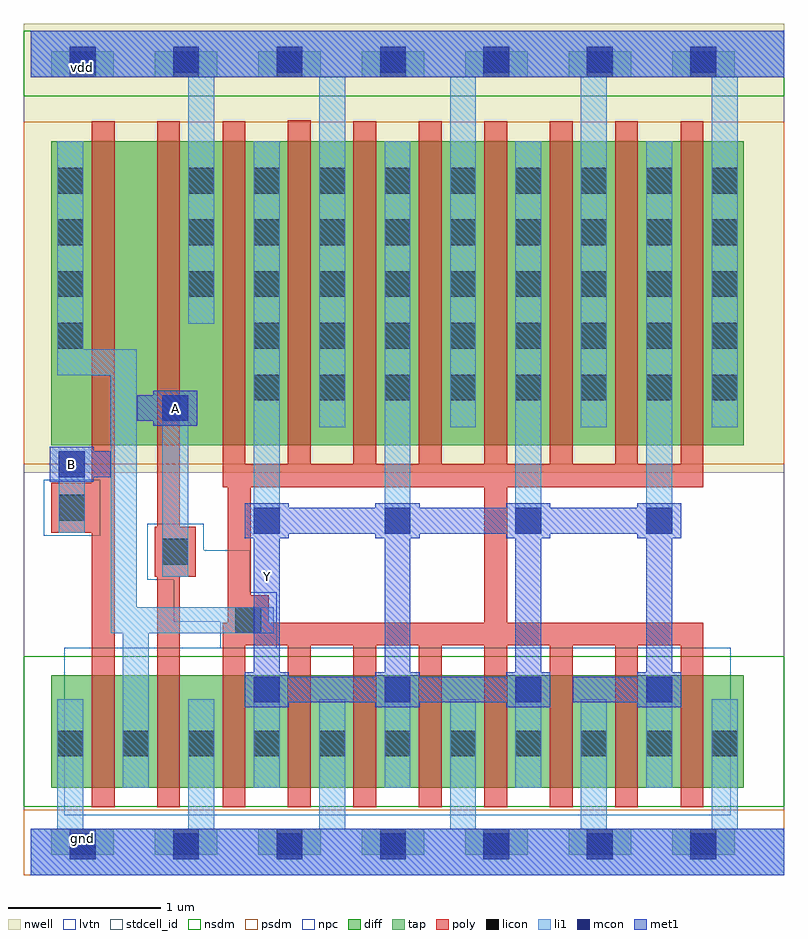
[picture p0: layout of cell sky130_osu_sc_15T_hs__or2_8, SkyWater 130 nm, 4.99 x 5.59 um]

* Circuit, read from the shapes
.subckt sky130_osu_sc_15T_hs__or2_8 A B Y gnd vdd
XM1 n1 B gnd gnd sky130_fd_pr__nfet_01v8_lvt w=0.74 l=0.15
XM2 gnd A n1 gnd sky130_fd_pr__nfet_01v8_lvt w=0.74 l=0.15
XM3 Y n1 gnd gnd sky130_fd_pr__nfet_01v8_lvt w=0.74 l=0.15 m=8
XM4 n2 B n1 vdd sky130_fd_pr__pfet_01v8 w=2 l=0.15
XM5 vdd A n2 vdd sky130_fd_pr__pfet_01v8 w=2 l=0.15
XM6 Y n1 vdd vdd sky130_fd_pr__pfet_01v8 w=2 l=0.15 m=8
.ends

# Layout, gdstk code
import gdstk
lib = gdstk.Library(unit=1e-6, precision=1e-09)
def R(c, l, rs):  # rectangles x0, y0, x1, y1
    for r in rs: c.add(gdstk.rectangle(r[:2], r[2:], *l))
def A(c, l, x, y, w, h, nx, ny, dx, dy):  # array of equal rectangles
    R(c, l, [(x+i*dx, y+j*dy, x+i*dx+w, y+j*dy+h) for i in range(nx) for j in range(ny)])
nwell = (64, 20)
diff = (65, 20)
tap = (65, 44)
poly = (66, 20)
licon = (66, 44)
li1 = (67, 20)
mcon = (67, 44)
met1 = (68, 20)
stdcell_id = (81, 4)
nsdm = (93, 44)
psdm = (94, 20)
npc = (95, 20)
lvtn = (125, 44)

sky130_osu_sc_15t_hs__or = lib.new_cell('sky130_osu_sc_15T_hs__or2_8')
R(sky130_osu_sc_15t_hs__or, nwell, [(-0.045,2.645,4.95,5.595)])
R(sky130_osu_sc_15t_hs__or, diff, [(0.135,0.575,4.685,1.315), (0.135,2.825,4.685,4.825)])
A(sky130_osu_sc_15t_hs__or, tap, 0.135, 0.135, 0.41, 0.17, 7, 2, 0.68, 5.11)
A(sky130_osu_sc_15t_hs__or, poly, 1.26, 0.445, 0.15, 1.065, 8, 1, 0.43, 0)
A(sky130_osu_sc_15t_hs__or, poly, 2.12, 2.7, 0.15, 2.255, 6, 1, 0.43, 0)
R(sky130_osu_sc_15t_hs__or, poly, [(0.4,0.445,0.55,2.25), (0.83,0.445,0.98,1.96), (1.26,1.51,4.42,1.66), (1.295,1.66,1.565,1.84), (2.98,1.66,3.13,2.55), (1.295,1.84,1.445,2.55), (0.815,1.96,1.085,2.29), (0.135,2.25,0.55,2.58), (0.83,2.29,0.98,4.955), (1.26,2.55,4.42,2.7), (0.4,2.58,0.55,4.955), (1.26,2.7,1.41,4.955), (1.69,2.7,1.84,4.96)])
A(sky130_osu_sc_15t_hs__or, licon, 0.255, 0.135, 0.17, 0.17, 7, 2, 0.68, 5.11)
A(sky130_osu_sc_15t_hs__or, licon, 0.175, 0.78, 0.17, 0.17, 11, 1, 0.43, 0)
A(sky130_osu_sc_15t_hs__or, licon, 1.465, 3.12, 0.17, 0.17, 8, 2, 0.43, 0.34)
A(sky130_osu_sc_15t_hs__or, licon, 0.175, 3.46, 0.17, 0.17, 1, 4, 0, 0.34)
A(sky130_osu_sc_15t_hs__or, licon, 1.035, 3.8, 0.17, 0.17, 9, 3, 0.43, 0.34)
R(sky130_osu_sc_15t_hs__or, licon, [(1.345,1.59,1.515,1.76), (0.865,2.04,1.035,2.21), (0.185,2.33,0.355,2.5)])
A(sky130_osu_sc_15t_hs__or, li1, 0.175, 0.305, 0.17, 0.85, 6, 1, 0.86, 0)
A(sky130_osu_sc_15t_hs__or, li1, 1.465, 0.575, 0.17, 0.73, 4, 1, 0.86, 0)
A(sky130_osu_sc_15t_hs__or, li1, 1.465, 2.245, 0.17, 2.58, 4, 1, 0.86, 0)
A(sky130_osu_sc_15t_hs__or, li1, 1.895, 2.945, 0.17, 2.3, 4, 1, 0.86, 0)
R(sky130_osu_sc_15t_hs__or, li1, [(0,0,4.95,0.305), (0.605,0.575,0.775,1.59), (0.525,1.59,1.595,1.76), (0.525,1.76,0.695,3.285), (0.865,1.96,1.035,3.155), (0.185,2.25,0.355,2.785), (0.175,3.285,0.695,3.455), (0.175,3.455,0.345,4.825), (1.035,3.625,1.205,5.245), (0,5.245,4.95,5.55)])
A(sky130_osu_sc_15t_hs__or, mcon, 0.255, 0.105, 0.17, 0.17, 7, 2, 0.68, 5.17)
A(sky130_osu_sc_15t_hs__or, mcon, 1.465, 1.135, 0.17, 0.17, 4, 2, 0.86, 1.11)
R(sky130_osu_sc_15t_hs__or, mcon, [(0.185,2.615,0.355,2.785), (0.865,2.985,1.035,3.155)])
A(sky130_osu_sc_15t_hs__or, met1, 1.405, 1.105, 0.29, 0.03, 4, 2, 0.86, 0.2)
A(sky130_osu_sc_15t_hs__or, met1, 1.465, 1.335, 0.17, 0.88, 4, 1, 0.86, 0)
A(sky130_osu_sc_15t_hs__or, met1, 1.405, 2.215, 0.29, 0.03, 4, 2, 0.86, 0.2)
R(sky130_osu_sc_15t_hs__or, met1, [(0,0,4.95,0.305), (1.405,1.135,3.415,1.305), (3.56,1.135,4.275,1.305), (1.405,2.245,4.275,2.415), (0.125,2.585,0.415,2.615), (0.125,2.615,0.525,2.785), (0.125,2.785,0.415,2.815), (0.805,2.955,1.095,2.985), (0.7,2.985,1.095,3.155), (0.805,3.155,1.095,3.185), (0,5.245,4.95,5.55)])
R(sky130_osu_sc_15t_hs__or, stdcell_id, [(-0.045,0,4.95,5.55)])
R(sky130_osu_sc_15t_hs__or, nsdm, [(-0.045,0.45,4.95,1.44), (-0.045,5.12,4.95,5.55)])
R(sky130_osu_sc_15t_hs__or, psdm, [(-0.045,0,4.95,0.43), (-0.045,2.7,4.95,4.95)])
R(sky130_osu_sc_15t_hs__or, npc, [(1.245,1.49,1.615,1.665), (0.94,1.665,1.615,1.86), (0.94,1.86,1.44,1.94), (0.765,1.94,1.44,2.135), (0.765,2.135,1.135,2.31), (0.085,2.23,0.455,2.6)])
R(sky130_osu_sc_15t_hs__or, lvtn, [(0.22,0.395,4.6,1.495)])
sky130_osu_sc_15t_hs__or.add(gdstk.Label('gnd', (0.34,0.24), layer=68, texttype=16))
sky130_osu_sc_15t_hs__or.add(gdstk.Label('vdd', (0.34,5.31), layer=68, texttype=16))
sky130_osu_sc_15t_hs__or.add(gdstk.Label('Y', (1.555,1.96), layer=68, texttype=5))
sky130_osu_sc_15t_hs__or.add(gdstk.Label('A', (0.95,3.07), layer=68, texttype=5))
sky130_osu_sc_15t_hs__or.add(gdstk.Label('B', (0.27,2.7), layer=68, texttype=5))

lib.write_gds('sky130_osu_sc_15T_hs__or2_8.gds')
